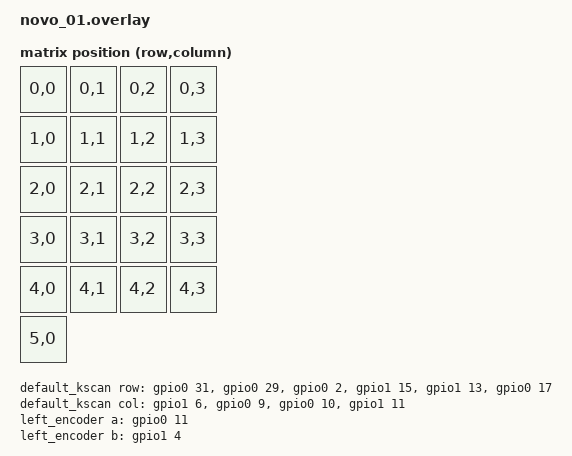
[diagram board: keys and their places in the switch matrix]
#include <dt-bindings/zmk/matrix_transform.h>
#define USE_SOC_NRF52840
#include "common_display_layout.dtsi"


/ {
    chosen {
        zmk,kscan = &default_kscan;
        zmk,matrix_transform = &default_transform;
        zephyr,display = &oled; // Wskazanie ekranu dla ZMK
    };

    default_kscan: kscan {
        compatible = "zmk,kscan-gpio-matrix";
        diode-direction = "col2row";
        row-gpios
            = <&gpio0 31 (GPIO_ACTIVE_LOW | GPIO_PULL_UP)> 
            , <&gpio0 29 (GPIO_ACTIVE_LOW | GPIO_PULL_UP)> 
            , <&gpio0 2  (GPIO_ACTIVE_LOW | GPIO_PULL_UP)> 
            , <&gpio1 15 (GPIO_ACTIVE_LOW | GPIO_PULL_UP)> 
            , <&gpio1 13 (GPIO_ACTIVE_LOW | GPIO_PULL_UP)> 
            , <&gpio0 17 (GPIO_ACTIVE_LOW | GPIO_PULL_UP)> 
            ;
        col-gpios
            = <&gpio1 6  GPIO_ACTIVE_LOW> 
            , <&gpio0 9  GPIO_ACTIVE_LOW> 
            , <&gpio0 10 GPIO_ACTIVE_LOW> 
            , <&gpio1 11 GPIO_ACTIVE_LOW> 
            ;
    };

    default_transform: matrix_transform {
        compatible = "zmk,matrix-transform";
        rows = <6>;
        columns = <4>;
        map = <
            RC(0,0) RC(0,1) RC(0,2) RC(0,3)
            RC(1,0) RC(1,1) RC(1,2) RC(1,3)
            RC(2,0) RC(2,1) RC(2,2) RC(2,3)
            RC(3,0) RC(3,1) RC(3,2) RC(3,3)
            RC(4,0) RC(4,1) RC(4,2) RC(4,3)
            RC(5,0)                         
        >;
    };

    left_encoder: encoder_left {
        compatible = "alps,ec11";
        a-gpios = <&gpio0 11 (GPIO_ACTIVE_HIGH | GPIO_PULL_UP)>; 
        b-gpios = <&gpio1 4 (GPIO_ACTIVE_HIGH | GPIO_PULL_UP)>;  
        steps = <80>;
    };

    sensors: sensors {
        compatible = "zmk,keymap-sensors";
        sensors = <&left_encoder>;
        triggers-per-rotation = <20>;
    };
};

&pinctrl {
    // configuration for i2c0 device, default state
    i2c0_default: i2c0_default {
        group1 {
            psels = <NRF_PSEL(TWIM_SDA, 0, 17)>,
                    <NRF_PSEL(TWIM_SCL, 0, 20)>;
        };
    };

    i2c0_sleep: i2c0_sleep {
        group1 {
            psels = <NRF_PSEL(TWIM_SDA, 0, 17)>,
                    <NRF_PSEL(TWIM_SCL, 0, 20)>;
            low-power-enable;
        };
    };
};
